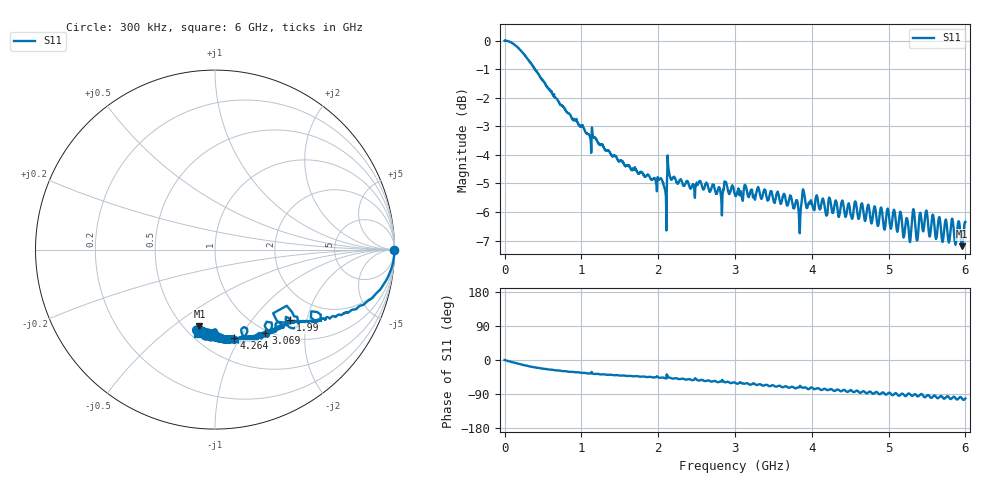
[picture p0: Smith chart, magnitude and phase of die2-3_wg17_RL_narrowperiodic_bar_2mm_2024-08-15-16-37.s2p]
!Keysight Technologies,P9374A,MY57304198,A.17.20.09
!Date: Thursday, August 15, 2024 16:37:21
!Correction: S11(C  1-Port  )
!S21(C  1-Port  )
!S12(Off)
!S22(Off)
!S2P File: Measurements: S11, S21, S12, S22:
# Hz S  dB  R 50
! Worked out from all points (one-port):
!   6000 points, 300 kHz to 6 GHz, reference 50 ohm
!   lowest |S11| = -7.2 dB at 5.955 GHz (marker M1), VSWR 2.55, Z = 29.7 - j31.4 ohm
!   |S11| at or under -10 dB: nowhere
!   S11 on the Smith chart (normalised r, x): 300 kHz: open; 1.99 GHz: 1.36, -1.59; 3.069 GHz: 0.96, -1.27; 4.264 GHz: 0.72, -0.95; 6 GHz: 0.54, -0.66
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300000  -0.00 -0.0  -200.00 45.0  -200.00 45.0  -200.00 45.0
2.373277e8  -0.43 -12.9  -200.00 45.0  -200.00 45.0  -200.00 45.0
4.093477e8  -1.06 -20.1  -200.00 45.0  -200.00 45.0  -200.00 45.0
6.643775e8  -2.00 -27.4  -200.00 45.0  -200.00 45.0  -200.00 45.0
1.000417e9  -2.99 -33.9  -200.00 45.0  -200.00 45.0  -200.00 45.0
1.498475e9  -4.23 -41.1  -200.00 45.0  -200.00 45.0  -200.00 45.0
1.989532e9  -4.82 -43.3  -200.00 45.0  -200.00 45.0  -200.00 45.0
2.000533e9  -4.84 -45.8  -200.00 45.0  -200.00 45.0  -200.00 45.0
2.079543e9  -5.14 -47.2  -200.00 45.0  -200.00 45.0  -200.00 45.0
2.13955e9  -4.60 -46.3  -200.00 45.0  -200.00 45.0  -200.00 45.0
2.264564e9  -4.97 -50.2  -200.00 45.0  -200.00 45.0  -200.00 45.0
3.00065e9  -5.41 -59.8  -200.00 45.0  -200.00 45.0  -200.00 45.0
3.068658e9  -5.30 -58.8  -200.00 45.0  -200.00 45.0  -200.00 45.0
3.785742e9  -5.72 -74.8  -200.00 45.0  -200.00 45.0  -200.00 45.0
3.839748e9  -6.59 -71.8  -200.00 45.0  -200.00 45.0  -200.00 45.0
3.890754e9  -5.23 -73.4  -200.00 45.0  -200.00 45.0  -200.00 45.0
4.000767e9  -5.69 -72.6  -200.00 45.0  -200.00 45.0  -200.00 45.0
4.263797e9  -5.99 -77.7  -200.00 45.0  -200.00 45.0  -200.00 45.0
5.000883e9  -6.04 -86.7  -200.00 45.0  -200.00 45.0  -200.00 45.0
5.490941e9  -5.95 -95.7  -200.00 45.0  -200.00 45.0  -200.00 45.0
5.954995e9  -7.20 -101.4  -200.00 45.0  -200.00 45.0  -200.00 45.0
6e9  -6.35 -101.4  -200.00 45.0  -200.00 45.0  -200.00 45.0
